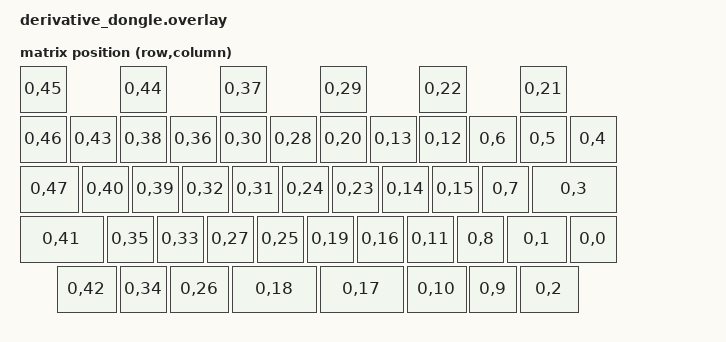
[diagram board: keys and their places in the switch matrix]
/*
 * derivative_dongle -- central "dongle" for the derivative keyboard.
 *
 * Runs on a Seeed XIAO nRF52840 (board target: xiao_ble/nrf52840). It holds the
 * keymap + HID output and receives key positions from the derivative keyboard
 * running as a split peripheral.
 *
 * The dongle has no physical keys, so kscan is a no-op mock. The physical layout
 * and matrix transform are copied verbatim from derivative-rev-a so the keymap
 * has the exact same 48 key positions in the same order the peripheral sends.
 */

#include <dt-bindings/zmk/matrix_transform.h>
#include <physical_layouts.dtsi>

/ {
    chosen {
        zmk,kscan = &dongle_kscan;
        zmk,physical-layout = &derivative_rev_a_physical_layout;
    };

    dongle_kscan: dongle_kscan {
        compatible = "zmk,kscan-mock";
        columns = <0>;
        rows = <0>;
        events = <>;
    };

    derivative_rev_a_physical_layout: derivative_rev_a_physical_layout {
        compatible = "zmk,physical-layout";
        display-name = "Derivative Rev A";
        transform = <&default_transform>;

        keys  //                     w   h    x    y     rot   rx   ry
            = <&key_physical_attrs 100 100    0    0       0    0    0>
            , <&key_physical_attrs 100 100  200    0       0    0    0>
            , <&key_physical_attrs 100 100  400    0       0    0    0>
            , <&key_physical_attrs 100 100  600    0       0    0    0>
            , <&key_physical_attrs 100 100  800    0       0    0    0>
            , <&key_physical_attrs 100 100 1000    0       0    0    0>
            , <&key_physical_attrs 100 100    0  100       0    0    0>
            , <&key_physical_attrs 100 100  100  100       0    0    0>
            , <&key_physical_attrs 100 100  200  100       0    0    0>
            , <&key_physical_attrs 100 100  300  100       0    0    0>
            , <&key_physical_attrs 100 100  400  100       0    0    0>
            , <&key_physical_attrs 100 100  500  100       0    0    0>
            , <&key_physical_attrs 100 100  600  100       0    0    0>
            , <&key_physical_attrs 100 100  700  100       0    0    0>
            , <&key_physical_attrs 100 100  800  100       0    0    0>
            , <&key_physical_attrs 100 100  900  100       0    0    0>
            , <&key_physical_attrs 100 100 1000  100       0    0    0>
            , <&key_physical_attrs 100 100 1100  100       0    0    0>
            , <&key_physical_attrs 125 100    0  200       0    0    0>
            , <&key_physical_attrs 100 100  125  200       0    0    0>
            , <&key_physical_attrs 100 100  225  200       0    0    0>
            , <&key_physical_attrs 100 100  325  200       0    0    0>
            , <&key_physical_attrs 100 100  425  200       0    0    0>
            , <&key_physical_attrs 100 100  525  200       0    0    0>
            , <&key_physical_attrs 100 100  625  200       0    0    0>
            , <&key_physical_attrs 100 100  725  200       0    0    0>
            , <&key_physical_attrs 100 100  825  200       0    0    0>
            , <&key_physical_attrs 100 100  925  200       0    0    0>
            , <&key_physical_attrs 175 100 1025  200       0    0    0>
            , <&key_physical_attrs 175 100    0  300       0    0    0>
            , <&key_physical_attrs 100 100  175  300       0    0    0>
            , <&key_physical_attrs 100 100  275  300       0    0    0>
            , <&key_physical_attrs 100 100  375  300       0    0    0>
            , <&key_physical_attrs 100 100  475  300       0    0    0>
            , <&key_physical_attrs 100 100  575  300       0    0    0>
            , <&key_physical_attrs 100 100  675  300       0    0    0>
            , <&key_physical_attrs 100 100  775  300       0    0    0>
            , <&key_physical_attrs 100 100  875  300       0    0    0>
            , <&key_physical_attrs 125 100  975  300       0    0    0>
            , <&key_physical_attrs 100 100 1100  300       0    0    0>
            , <&key_physical_attrs 125 100   75  400       0    0    0>
            , <&key_physical_attrs 100 100  200  400       0    0    0>
            , <&key_physical_attrs 125 100  300  400       0    0    0>
            , <&key_physical_attrs 175 100  425  400       0    0    0>
            , <&key_physical_attrs 175 100  600  400       0    0    0>
            , <&key_physical_attrs 125 100  775  400       0    0    0>
            , <&key_physical_attrs 100 100  900  400       0    0    0>
            , <&key_physical_attrs 125 100 1000  400       0    0    0>
            ;
    };

    default_transform: keymap_transform_0 {
        compatible = "zmk,matrix-transform";
        columns = <48>;
        rows = <1>;
        map = <
RC(0,45) RC(0,44) RC(0,37) RC(0,29) RC(0,22) RC(0,21)
RC(0,46) RC(0,43) RC(0,38) RC(0,36) RC(0,30) RC(0,28) RC(0,20) RC(0,13) RC(0,12) RC(0,6) RC(0,5) RC(0,4)
RC(0,47)    RC(0,40) RC(0,39) RC(0,32) RC(0,31) RC(0,24) RC(0,23) RC(0,14) RC(0,15) RC(0,7)        RC(0,3)
RC(0,41)     RC(0,35) RC(0,33) RC(0,27) RC(0,25) RC(0,19) RC(0,16) RC(0,11) RC(0,8) RC(0,1)       RC(0,0)
    RC(0,42) RC(0,34) RC(0,26)         RC(0,18)             RC(0,17)             RC(0,10) RC(0,9) RC(0,2)
        >;
    };
};
